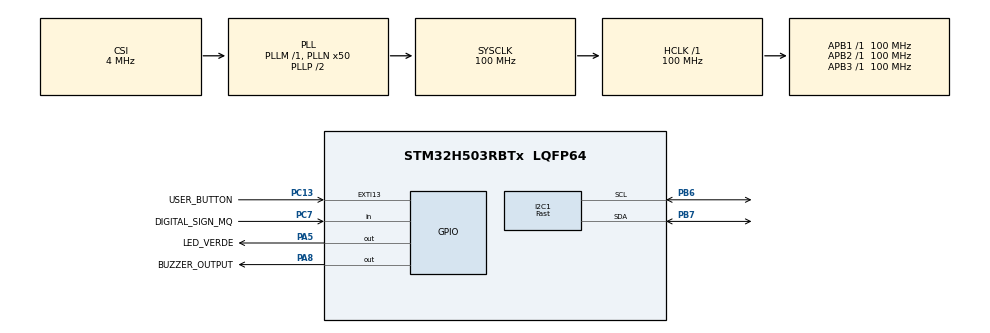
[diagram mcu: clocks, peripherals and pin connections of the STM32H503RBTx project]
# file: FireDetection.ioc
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BOOTPATH.BootPathName=LEGACY
BOOTPATH.UserSelectedBootPath=LEGACY
I2C1.I2C_Speed_Mode=I2C_Fast
I2C1.Timing=0x009034B6
Mcu.Family=STM32H5
Mcu.Name=STM32H503RBTx
Mcu.Package=LQFP64
NVIC.PriorityGroup=NVIC_PRIORITYGROUP_4
NVIC.TIM6_IRQn=true\:0\:0\:false\:false\:true\:true\:true\:true
PA3.GPIO_Label=T_VCP_RX
PA3.Signal=USART3_RX
PA4.GPIO_Label=T_VCP_TX
PA4.Signal=USART3_TX
PA5.GPIO_Label=LED_VERDE
PA5.GPIO_Speed=GPIO_SPEED_FREQ_VERY_HIGH
PA5.Signal=GPIO_Output
PA8.GPIO_Label=BUZZER_OUTPUT
PA8.GPIO_Speed=GPIO_SPEED_FREQ_VERY_HIGH
PA8.PinState=GPIO_PIN_RESET
PA8.Signal=GPIO_Output
PB6.Mode=I2C
PB6.Signal=I2C1_SCL
PB7.Mode=I2C
PB7.Signal=I2C1_SDA
PC13.GPIO_Label=USER_BUTTON
PC13.Signal=GPXTI13
PC7.GPIO_Label=DIGITAL_SIGN_MQ
PC7.Signal=GPIO_Input
ProjectManager.HeapSize=0x200
ProjectManager.StackSize=0x400
ProjectManager.TargetToolchain=STM32CubeIDE
RCC.ADCFreq_Value=100000000
RCC.AHBFreq_Value=100000000
RCC.APB1Freq_Value=100000000
RCC.APB1TimFreq_Value=100000000
RCC.APB2Freq_Value=100000000
RCC.APB2TimFreq_Value=100000000
RCC.APB3Freq_Value=100000000
RCC.CSI_VALUE=4000000
RCC.CortexFreq_Value=100000000
RCC.EPOD_VALUE=4000000
RCC.HCLKFreq_Value=100000000
RCC.HSE_VALUE=24000000
RCC.HSI48_VALUE=48000000
RCC.HSIDiv=RCC_HSI_DIV1
RCC.HSI_VALUE=64000000
RCC.LSE_VALUE=32768
RCC.LSIRC_VALUE=32000
RCC.PLL2FRACN=0
RCC.PLLFRACN=0
RCC.PLLN=50
RCC.SYSCLKFreq_VALUE=100000000
RCC.SYSCLKSource=RCC_SYSCLKSOURCE_PLLCLK
RCC.USBFreq_Value=48000000
RCC.VCOOutputFreq_Value=200000000
TIM6.PeriodNoDither=9999
TIM6.Prescaler=9999
VP_BOOTPATH_VS_BOOTPATH.Mode=BP_Activate
VP_CORTEX_M33_NS_VS_Hclk.Mode=Hclk_Mode
VP_ICACHE_VS_ICACHE.Mode=DefaultMode
VP_MEMORYMAP_VS_MEMORYMAP.Mode=CurAppReg
VP_PWR_VS_DBSignals.Mode=DisableDeadBatterySignals
VP_PWR_VS_LPOM.Mode=PowerOptimisation
VP_PWR_VS_SECSignals.Mode=Security/Privilege
VP_TIM6_VS_ClockSourceINT.Mode=Enable_Timer
board=NUCLEO-H503RB

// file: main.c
/* USER CODE BEGIN Header */
/**
  ******************************************************************************
  * @file           : main.c
  * @brief          : Main program body
  ******************************************************************************
  * @attention
  *
  * Copyright (c) 2025 STMicroelectronics.
  * All rights reserved.
  *
  * This software is licensed under terms that can be found in the LICENSE file
  * in the root directory of this software component.
  * If no LICENSE file comes with this software, it is provided AS-IS.
  *
  ******************************************************************************
  */
/* USER CODE END Header */
#include "main.h"

/* USER CODE BEGIN PD */
#define BMA400ADDRESS (0x14<<1)
#define CHIPID 0x90
#define LEDON 0x01
#define LEDOFF 0x00
#define ROOMTEMP 0x23 // 35°C
//Modify ROOMTEMP & TEMPPOSSIBLEFIRE according to your needs
#define TEMPPOSSIBLEFIRE 0x1E //30°C
/* USER CODE END PD */

I2C_HandleTypeDef hi2c1;

TIM_HandleTypeDef htim6;

void SystemClock_Config(void);
static void MX_GPIO_Init(void);
static void MX_I2C1_Init(void);
static void MX_ICACHE_Init(void);
static void MX_TIM6_Init(void);
/* USER CODE BEGIN PFP */
void goToNormal(void);
void checkID(void);
void startTimer6(void);
void readTempBMA400(void);
void readGasConcentrationMQ(void);
void checkForFire(void);
/* USER CODE END PFP */

/* USER CODE BEGIN 0 */
uint8_t pData_ID[1];
uint8_t gasConcentration;
volatile float temperature;
volatile float highGasConcentration;
/* USER CODE END 0 */

int main(void)
{

  /* MCU Configuration--------------------------------------------------------*/

  /* Reset of all peripherals, Initializes the Flash interface and the Systick. */
  HAL_Init();

  /* Configure the system clock */
  SystemClock_Config();

  /* Initialize all configured peripherals */
  MX_GPIO_Init();
  MX_I2C1_Init();
  MX_ICACHE_Init();
  MX_TIM6_Init();
  /* USER CODE BEGIN 2 */
  checkID();
  goToNormal();
  startTimer6();
  /* USER CODE END 2 */

  /* Infinite loop */
  while (1)
  {

  }
}

void SystemClock_Config(void)
{
  RCC_OscInitTypeDef RCC_OscInitStruct = {0};
  RCC_ClkInitTypeDef RCC_ClkInitStruct = {0};

  /** Configure the main internal regulator output voltage
  */
  __HAL_PWR_VOLTAGESCALING_CONFIG(PWR_REGULATOR_VOLTAGE_SCALE3);

  while(!__HAL_PWR_GET_FLAG(PWR_FLAG_VOSRDY)) {}

  /** Initializes the RCC Oscillators according to the specified parameters
  * in the RCC_OscInitTypeDef structure.
  */
  RCC_OscInitStruct.OscillatorType = RCC_OSCILLATORTYPE_CSI;
  RCC_OscInitStruct.CSIState = RCC_CSI_ON;
  RCC_OscInitStruct.CSICalibrationValue = RCC_CSICALIBRATION_DEFAULT;
  RCC_OscInitStruct.PLL.PLLState = RCC_PLL_ON;
  RCC_OscInitStruct.PLL.PLLSource = RCC_PLL1_SOURCE_CSI;
  RCC_OscInitStruct.PLL.PLLM = 1;
  RCC_OscInitStruct.PLL.PLLN = 50;
  RCC_OscInitStruct.PLL.PLLP = 2;
  RCC_OscInitStruct.PLL.PLLQ = 2;
  RCC_OscInitStruct.PLL.PLLR = 2;
  RCC_OscInitStruct.PLL.PLLRGE = RCC_PLL1_VCIRANGE_2;
  RCC_OscInitStruct.PLL.PLLVCOSEL = RCC_PLL1_VCORANGE_WIDE;
  RCC_OscInitStruct.PLL.PLLFRACN = 0;
  if (HAL_RCC_OscConfig(&RCC_OscInitStruct) != HAL_OK)
  {
    Error_Handler();
  }

  /** Initializes the CPU, AHB and APB buses clocks
  */
  RCC_ClkInitStruct.ClockType = RCC_CLOCKTYPE_HCLK|RCC_CLOCKTYPE_SYSCLK
                              |RCC_CLOCKTYPE_PCLK1|RCC_CLOCKTYPE_PCLK2
                              |RCC_CLOCKTYPE_PCLK3;
  RCC_ClkInitStruct.SYSCLKSource = RCC_SYSCLKSOURCE_PLLCLK;
  RCC_ClkInitStruct.AHBCLKDivider = RCC_SYSCLK_DIV1;
  RCC_ClkInitStruct.APB1CLKDivider = RCC_HCLK_DIV1;
  RCC_ClkInitStruct.APB2CLKDivider = RCC_HCLK_DIV1;
  RCC_ClkInitStruct.APB3CLKDivider = RCC_HCLK_DIV1;

  if (HAL_RCC_ClockConfig(&RCC_ClkInitStruct, FLASH_LATENCY_4) != HAL_OK)
  {
    Error_Handler();
  }

  /** Configure the programming delay
  */
  __HAL_FLASH_SET_PROGRAM_DELAY(FLASH_PROGRAMMING_DELAY_2);
}

static void MX_I2C1_Init(void)
{

  hi2c1.Instance = I2C1;
  hi2c1.Init.Timing = 0x009034B6;
  hi2c1.Init.OwnAddress1 = 0;
  hi2c1.Init.AddressingMode = I2C_ADDRESSINGMODE_7BIT;
  hi2c1.Init.DualAddressMode = I2C_DUALADDRESS_DISABLE;
  hi2c1.Init.OwnAddress2 = 0;
  hi2c1.Init.OwnAddress2Masks = I2C_OA2_NOMASK;
  hi2c1.Init.GeneralCallMode = I2C_GENERALCALL_DISABLE;
  hi2c1.Init.NoStretchMode = I2C_NOSTRETCH_DISABLE;
  if (HAL_I2C_Init(&hi2c1) != HAL_OK)
  {
    Error_Handler();
  }

  /** Configure Analogue filter
  */
  if (HAL_I2CEx_ConfigAnalogFilter(&hi2c1, I2C_ANALOGFILTER_ENABLE) != HAL_OK)
  {
    Error_Handler();
  }

  /** Configure Digital filter
  */
  if (HAL_I2CEx_ConfigDigitalFilter(&hi2c1, 0) != HAL_OK)
  {
    Error_Handler();
  }

}

static void MX_ICACHE_Init(void)
{

  /** Enable instruction cache (default 2-ways set associative cache)
  */
  if (HAL_ICACHE_Enable() != HAL_OK)
  {
    Error_Handler();
  }

}

static void MX_TIM6_Init(void)
{

  TIM_MasterConfigTypeDef sMasterConfig = {0};

  htim6.Instance = TIM6;
  htim6.Init.Prescaler = 9999;
  htim6.Init.CounterMode = TIM_COUNTERMODE_UP;
  htim6.Init.Period = 9999;
  htim6.Init.AutoReloadPreload = TIM_AUTORELOAD_PRELOAD_DISABLE;
  if (HAL_TIM_Base_Init(&htim6) != HAL_OK)
  {
    Error_Handler();
  }
  sMasterConfig.MasterOutputTrigger = TIM_TRGO_RESET;
  sMasterConfig.MasterSlaveMode = TIM_MASTERSLAVEMODE_DISABLE;
  if (HAL_TIMEx_MasterConfigSynchronization(&htim6, &sMasterConfig) != HAL_OK)
  {
    Error_Handler();
  }

}

static void MX_GPIO_Init(void)
{
  GPIO_InitTypeDef GPIO_InitStruct = {0};

  /* GPIO Ports Clock Enable */
  __HAL_RCC_GPIOC_CLK_ENABLE();
  __HAL_RCC_GPIOA_CLK_ENABLE();
  __HAL_RCC_GPIOB_CLK_ENABLE();

  /*Configure GPIO pin Output Level */
  HAL_GPIO_WritePin(GPIOA, LED_VERDE_Pin|BUZZER_OUTPUT_Pin, GPIO_PIN_RESET);

  /*Configure GPIO pin : USER_BUTTON_Pin */
  GPIO_InitStruct.Pin = USER_BUTTON_Pin;
  GPIO_InitStruct.Mode = GPIO_MODE_IT_RISING;
  GPIO_InitStruct.Pull = GPIO_NOPULL;
  HAL_GPIO_Init(USER_BUTTON_GPIO_Port, &GPIO_InitStruct);

  /*Configure GPIO pins : T_VCP_RX_Pin T_VCP_TX_Pin */
  GPIO_InitStruct.Pin = T_VCP_RX_Pin|T_VCP_TX_Pin;
  GPIO_InitStruct.Mode = GPIO_MODE_AF_PP;
  GPIO_InitStruct.Pull = GPIO_NOPULL;
  GPIO_InitStruct.Speed = GPIO_SPEED_FREQ_LOW;
  GPIO_InitStruct.Alternate = GPIO_AF13_USART3;
  HAL_GPIO_Init(GPIOA, &GPIO_InitStruct);

  /*Configure GPIO pins : LED_VERDE_Pin BUZZER_OUTPUT_Pin */
  GPIO_InitStruct.Pin = LED_VERDE_Pin|BUZZER_OUTPUT_Pin;
  GPIO_InitStruct.Mode = GPIO_MODE_OUTPUT_PP;
  GPIO_InitStruct.Pull = GPIO_NOPULL;
  GPIO_InitStruct.Speed = GPIO_SPEED_FREQ_VERY_HIGH;
  HAL_GPIO_Init(GPIOA, &GPIO_InitStruct);

  /*Configure GPIO pin : DIGITAL_SIGN_MQ_Pin */
  GPIO_InitStruct.Pin = DIGITAL_SIGN_MQ_Pin;
  GPIO_InitStruct.Mode = GPIO_MODE_INPUT;
  GPIO_InitStruct.Pull = GPIO_NOPULL;
  HAL_GPIO_Init(DIGITAL_SIGN_MQ_GPIO_Port, &GPIO_InitStruct);

}

/* USER CODE BEGIN 4 */
void checkID(){
	if(HAL_I2C_Mem_Read(&hi2c1, BMA400ADDRESS,0x00, 1, pData_ID, 1, 100) == HAL_OK){
		uint8_t valID = pData_ID[0];
	    if (valID == CHIPID){
			HAL_GPIO_WritePin(LED_VERDE_GPIO_Port, LED_VERDE_Pin, 1);
			HAL_Delay(3000);
			HAL_GPIO_WritePin(LED_VERDE_GPIO_Port, LED_VERDE_Pin, 0);
		}
	}
	else{
		Error_Handler();
	}
}

void goToNormal(){
	uint8_t pData = 0x02;
	if(HAL_I2C_Mem_Write(&hi2c1, BMA400ADDRESS,0x19, 1, &pData, 1, 100) == HAL_OK){
		HAL_GPIO_WritePin(LED_VERDE_GPIO_Port, LED_VERDE_Pin, LEDON);
		HAL_Delay(3000);
		HAL_GPIO_WritePin(LED_VERDE_GPIO_Port, LED_VERDE_Pin, LEDOFF);
	}
}
void startTimer6(){
	HAL_TIM_Base_Start_IT(&htim6);
}

void readTempBMA400(){
	uint8_t pData_Temp[1];
	HAL_I2C_Mem_Read(&hi2c1, BMA400ADDRESS, 0x11, 1, pData_Temp, 1, 100);
	int8_t temperatureRaw = pData_Temp[0];
	temperature = temperatureRaw * 0.5f + 23.0f;
}

void HAL_TIM_PeriodElapsedCallback(TIM_HandleTypeDef *htim) {
  if (htim->Instance == TIM6) {
	  readTempBMA400();
	  readGasConcentrationMQ();
	  checkForFire();
  }
}

void checkForFire(){
	//if((temperature >= TEMPPOSSIBLEFIRE)&&(gasConcentration == 0)){
	if((temperature >= TEMPPOSSIBLEFIRE)&&(gasConcentration == 0)){
		//using the digital output from the mq135 delivers 1 or 0, 0 being a high concentration of gases
		HAL_GPIO_WritePin(LED_VERDE_GPIO_Port, LED_VERDE_Pin, LEDON);
		HAL_GPIO_WritePin(BUZZER_OUTPUT_GPIO_Port, BUZZER_OUTPUT_Pin, GPIO_PIN_SET);
	}
	else{
		HAL_GPIO_WritePin(LED_VERDE_GPIO_Port, LED_VERDE_Pin, LEDOFF);
	}
}

void readGasConcentrationMQ(){
	gasConcentration = HAL_GPIO_ReadPin(DIGITAL_SIGN_MQ_GPIO_Port, DIGITAL_SIGN_MQ_Pin);
	//read MQ-135Sensor Digital Output
}

void sendUART(){

}
/* USER CODE END 4 */

void Error_Handler(void)
{
  __disable_irq();
  while (1)
  {
  }
}
